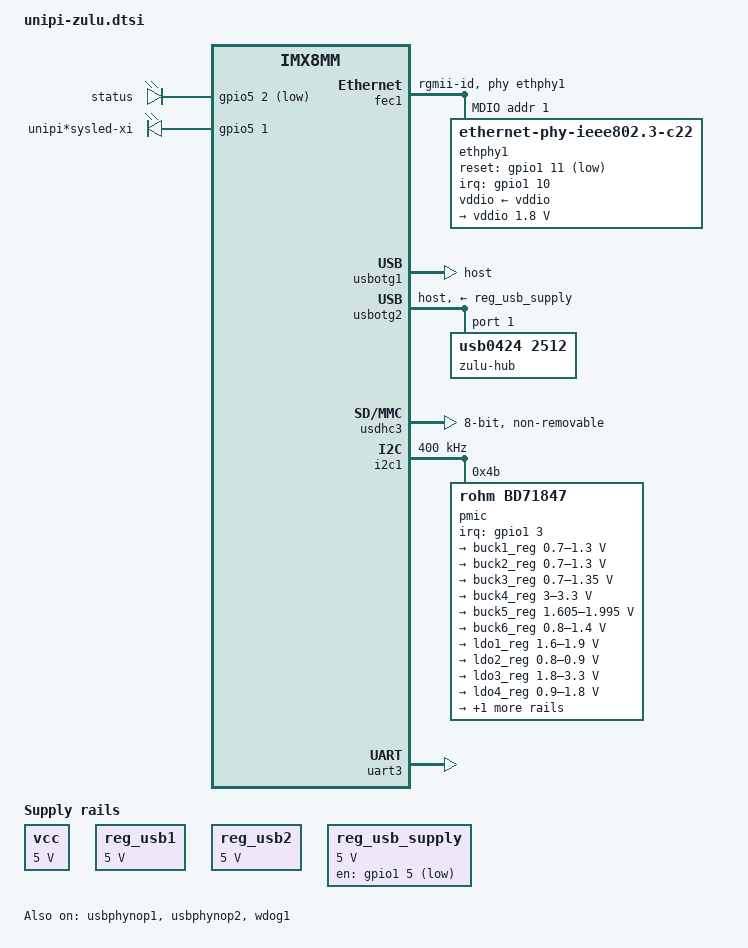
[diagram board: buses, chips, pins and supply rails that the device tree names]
// SPDX-License-Identifier: (GPL-2.0+ OR MIT)
/*
 * Copyright 2020 Faster CZ
 * Copyright 2019 NXP
 */

/dts-v1/;

#include <dt-bindings/usb/pd.h>
#include "imx8mm.dtsi"

/ {
    /* compatibility fsl,imx8mm is REQUIRED!! */
	compatible = "unipi,zulu", "fsl,imx8mm";

	resmem: reserved-memory {
		#address-cells = <2>;
		#size-cells = <2>;
		ranges;

		rpmsg_reserved: rpmsg@b8000000 {
			no-map;
			reg = <0 0xb8000000 0 0x400000>;
		};

		/* Use the kernel configuration settings instead */
		/delete-node/ linux,cma;
	};

	leds {
		compatible = "gpio-leds";
		pinctrl-names = "default";
		pinctrl-0 = <&pinctrl_gpio_led>;

		statusled {
			label = "status";
			gpios = <&gpio5 2 GPIO_ACTIVE_LOW>;
			default-state = "off";
		};
		ethgreen {
			label = "unipi*sysled-xi";
			gpios = <&gpio5 1 GPIO_ACTIVE_HIGH>;
			default-state = "off";
			linux,default-trigger = "30be0000.ethernet-1:01:link";
		};
	};

	vcc: regulator-5v-main {
		compatible = "regulator-fixed";
		regulator-name = "vcc";
		regulator-min-microvolt = <5000000>;
		regulator-max-microvolt = <5000000>;
		regulator-always-on;
	};

	reg_usb1: regulator-usb1 {
		compatible = "regulator-fixed";
		regulator-name = "U2_5V";
		regulator-min-microvolt = <5000000>;
		regulator-max-microvolt = <5000000>;
		regulator-always-on;
		status = "okay";
	};

	reg_usb2: regulator-usb2 {
		compatible = "regulator-fixed";
		regulator-name = "U1_5V";
		regulator-min-microvolt = <5000000>;
		regulator-max-microvolt = <5000000>;
		regulator-always-on;
		status = "okay";
	};

	reg_usb_supply: regulator-extusb2 {
		compatible = "regulator-fixed";
		regulator-name = "USB_5V";
		regulator-min-microvolt = <5000000>;
		regulator-max-microvolt = <5000000>;

		pinctrl-names = "default";
		pinctrl-0 = <&pinctrl_reg_usb_supply>;
		gpio = <&gpio1 5 GPIO_ACTIVE_LOW>;
		off-on-delay-us = <20000>;
		enable-active-low;
		status = "okay";
	};
};

&A53_0 {
	cpu-supply = <&buck2_reg>;
};
&A53_1 {
	cpu-supply = <&buck2_reg>;
};
&A53_2 {
	cpu-supply = <&buck2_reg>;
};
&A53_3 {
	cpu-supply = <&buck2_reg>;
};

&fec1 {
	pinctrl-names = "default";
	pinctrl-0 = <&pinctrl_fec1>;
	phy-mode = "rgmii-id";
	phy-handle = <&ethphy1>;
	fsl,magic-packet;
	status = "okay";

	mdio {
		#address-cells = <1>;
		#size-cells = <0>;

		ethphy1: ethernet-phy@1 {
			compatible = "ethernet-phy-ieee802.3-c22";
			reg = <1>;
			reset-gpios = <&gpio1 11 GPIO_ACTIVE_LOW>;
			reset-assert-us = <10000>;
			qca,disable-smarteee;
			interrupt-parent = <&gpio1>;
			interrupts = <10 IRQ_TYPE_LEVEL_LOW>;
			vddio-supply = <&vddio>;

			vddio: vddio-regulator {
				regulator-min-microvolt = <1800000>;
				regulator-max-microvolt = <1800000>;
			};
		};
	};
};

&usbotg1 {
	disable-over-current;
	dr_mode = "host";
	hnp-disable;
	srp-disable;
	adp-disable;
	status = "okay";
};

&usbotg2 {
	disable-over-current;
	dr_mode = "host";
	hnp-disable;
	srp-disable;
	adp-disable;
	status = "okay";
	vbus-supply = <&reg_usb_supply>;
	#address-cells = <1>;
	#size-cells = <0>;

	zulu-hub@1 {
		reg = <1>;
		compatible = "usb0424,2512";
	};

};

&usbphynop1 {
	vbus-supply = <&reg_usb1>;
	status = "okay";
};

&usbphynop2 {
	vbus-supply = <&reg_usb2>;
	status = "okay";
};


&usdhc3 {
    /* internal MMC */
	pinctrl-names = "default", "state_100mhz", "state_200mhz";
	pinctrl-0 = <&pinctrl_usdhc3>;
	pinctrl-1 = <&pinctrl_usdhc3_100mhz>;
	pinctrl-2 = <&pinctrl_usdhc3_200mhz>;
	bus-width = <8>;
	voltage-ranges = <1800 1800>;
	non-removable;
	status = "okay";
};

&wdog1 {
	pinctrl-names = "default";
	pinctrl-0 = <&pinctrl_wdog>;
	fsl,ext-reset-output;
	status = "okay";
};

&i2c1 {
	clock-frequency = <400000>;
	pinctrl-names = "default";
	pinctrl-0 = <&pinctrl_i2c1>;
	status = "okay";

	pmic@4b {
		compatible = "rohm,bd71847";
		reg = <0x4b>;
		pinctrl-0 = <&pinctrl_pmic>;
		interrupt-parent = <&gpio1>;
		interrupts = <3 GPIO_ACTIVE_LOW>;
		rohm,reset-snvs-powered;

		regulators {
			buck1_reg: BUCK1 {
				regulator-name = "BUCK1";
				regulator-min-microvolt = <700000>;
				regulator-max-microvolt = <1300000>;
				regulator-boot-on;
				regulator-always-on;
				regulator-ramp-delay = <1250>;
			};

			buck2_reg: BUCK2 {
				regulator-name = "BUCK2";
				regulator-min-microvolt = <700000>;
				regulator-max-microvolt = <1300000>;
				regulator-boot-on;
				regulator-always-on;
				regulator-ramp-delay = <1250>;
				rohm,dvs-run-voltage = <1000000>;
				rohm,dvs-idle-voltage = <900000>;
			};

			buck3_reg: BUCK3 {
				// BUCK5 in datasheet
				regulator-name = "BUCK3";
				regulator-min-microvolt = <700000>;
				regulator-max-microvolt = <1350000>;
				regulator-boot-on;
				regulator-always-on;
			};

			buck4_reg: BUCK4 {
				// BUCK6 in datasheet
				regulator-name = "BUCK4";
				regulator-min-microvolt = <3000000>;
				regulator-max-microvolt = <3300000>;
				regulator-boot-on;
				regulator-always-on;
			};

			buck5_reg: BUCK5 {
				// BUCK7 in datasheet
				regulator-name = "BUCK5";
				regulator-min-microvolt = <1605000>;
				regulator-max-microvolt = <1995000>;
				regulator-boot-on;
				regulator-always-on;
			};

			buck6_reg: BUCK6 {
				// BUCK8 in datasheet
				regulator-name = "BUCK6";
				regulator-min-microvolt = <800000>;
				regulator-max-microvolt = <1400000>;
				regulator-boot-on;
				regulator-always-on;
			};

			ldo1_reg: LDO1 {
				regulator-name = "LDO1";
				regulator-min-microvolt = <1600000>;
				regulator-max-microvolt = <1900000>;
				regulator-boot-on;
				regulator-always-on;
			};

			ldo2_reg: LDO2 {
				regulator-name = "LDO2";
				regulator-min-microvolt = <800000>;
				regulator-max-microvolt = <900000>;
				regulator-boot-on;
				regulator-always-on;
			};

			ldo3_reg: LDO3 {
				regulator-name = "LDO3";
				regulator-min-microvolt = <1800000>;
				regulator-max-microvolt = <3300000>;
				regulator-boot-on;
				regulator-always-on;
			};

			ldo4_reg: LDO4 {
				regulator-name = "LDO4";
				regulator-min-microvolt = <900000>;
				regulator-max-microvolt = <1800000>;
				regulator-boot-on;
				regulator-always-on;
			};

			ldo6_reg: LDO6 {
				regulator-name = "LDO6";
				regulator-min-microvolt = <900000>;
				regulator-max-microvolt = <1800000>;
				regulator-boot-on;
				regulator-always-on;
			};
		};
	};
};

&i2c3 {
	clock-frequency = <100000>;
	pinctrl-names = "default";
	pinctrl-0 = <&pinctrl_i2c3>;
	status = "disabled";
};

&uart1 {
	pinctrl-names = "default";
	pinctrl-0 = <&pinctrl_uart1>;
	assigned-clocks = <&clk IMX8MM_CLK_UART1>;
	assigned-clock-parents = <&clk IMX8MM_SYS_PLL1_80M>;
	status = "disabled";
};

&uart2 {
	pinctrl-names = "default";
	pinctrl-0 = <&pinctrl_uart2>;
	assigned-clocks = <&clk IMX8MM_CLK_UART2>;
	assigned-clock-parents = <&clk IMX8MM_SYS_PLL1_80M>;
	status = "disabled";
};

&uart3 { /* console */
	pinctrl-names = "default";
	pinctrl-0 = <&pinctrl_uart3>;
	assigned-clocks = <&clk IMX8MM_CLK_UART3>;
	assigned-clock-parents = <&clk IMX8MM_SYS_PLL1_80M>;
	status = "okay";
};

&uart4 {
	pinctrl-names = "default";
	pinctrl-0 = <&pinctrl_uart4>;
	assigned-clocks = <&clk IMX8MM_CLK_UART4>;
	assigned-clock-parents = <&clk IMX8MM_SYS_PLL1_80M>;
	status = "disabled";
};

&iomuxc {
	pinctrl-names = "default";

	pinctrl_gpio_led: gpioledgrp {
		fsl,pins = <
			MX8MM_IOMUXC_SAI3_MCLK_GPIO5_IO2	0x19
			MX8MM_IOMUXC_SAI3_TXD_GPIO5_IO1		0x19
		>;
	};

	pinctrl_fec1: fec1grp {
		fsl,pins = <
			MX8MM_IOMUXC_ENET_MDC_ENET1_MDC				0x03
			MX8MM_IOMUXC_ENET_MDIO_ENET1_MDIO			0x03
			MX8MM_IOMUXC_ENET_TD3_ENET1_RGMII_TD3		0x1f
			MX8MM_IOMUXC_ENET_TD2_ENET1_RGMII_TD2		0x1f
			MX8MM_IOMUXC_ENET_TD1_ENET1_RGMII_TD1		0x1f
			MX8MM_IOMUXC_ENET_TD0_ENET1_RGMII_TD0		0x1f
			MX8MM_IOMUXC_ENET_RD3_ENET1_RGMII_RD3		0x91
			MX8MM_IOMUXC_ENET_RD2_ENET1_RGMII_RD2		0x91
			MX8MM_IOMUXC_ENET_RD1_ENET1_RGMII_RD1		0x91
			MX8MM_IOMUXC_ENET_RD0_ENET1_RGMII_RD0		0x91
			MX8MM_IOMUXC_ENET_TXC_ENET1_RGMII_TXC		0x1f
			MX8MM_IOMUXC_ENET_RXC_ENET1_RGMII_RXC		0x91
			MX8MM_IOMUXC_ENET_RX_CTL_ENET1_RGMII_RX_CTL	0x91
			MX8MM_IOMUXC_ENET_TX_CTL_ENET1_RGMII_TX_CTL	0x1f
			MX8MM_IOMUXC_GPIO1_IO11_GPIO1_IO11			0x19
			MX8MM_IOMUXC_GPIO1_IO10_GPIO1_IO10			0x19  // interrupt
		>;
	};

	pinctrl_i2c1: i2c1grp {
		fsl,pins = <
			MX8MM_IOMUXC_I2C1_SCL_I2C1_SCL			0x400000c3
			MX8MM_IOMUXC_I2C1_SDA_I2C1_SDA			0x400000c3
		>;
	};

	pinctrl_i2c3: i2c3grp {
		fsl,pins = <
			MX8MM_IOMUXC_I2C3_SCL_I2C3_SCL			0x400000c3
			MX8MM_IOMUXC_I2C3_SDA_I2C3_SDA			0x400000c3
		>;
	};

	pinctrl_pmic: pmicirq {
		fsl,pins = <
			MX8MM_IOMUXC_GPIO1_IO03_GPIO1_IO3		0x41
		>;
	};

	pinctrl_uart1: uart1grp {
		fsl,pins = <
			MX8MM_IOMUXC_SAI2_RXC_UART1_DCE_RX		0x040
			MX8MM_IOMUXC_SAI2_RXFS_UART1_DCE_TX		0x040
		>;
	};

	pinctrl_uart1_ctrl: uart1ctrlgrp {
		fsl,pins = <
			MX8MM_IOMUXC_SAI2_TXFS_GPIO4_IO24		0x040
		>;
	};

	pinctrl_uart2: uart2grp {
		fsl,pins = <
			MX8MM_IOMUXC_SAI3_TXFS_UART2_DCE_RX		0x040
			MX8MM_IOMUXC_SAI3_TXC_UART2_DCE_TX		0x040
		>;
	};

	pinctrl_uart2_ctrl: uart2ctrlgrp {
		fsl,pins = <
			MX8MM_IOMUXC_SAI3_RXC_GPIO4_IO29		0x040
		>;
	};

	pinctrl_uart3: uart3grp {
		fsl,pins = <
			MX8MM_IOMUXC_UART3_RXD_UART3_DCE_RX		0x040
			MX8MM_IOMUXC_UART3_TXD_UART3_DCE_TX		0x040
		>;
	};

	pinctrl_uart3_ctrl: uart3ctrlgrp {
		fsl,pins = <
			MX8MM_IOMUXC_SAI2_MCLK_GPIO4_IO27		0x040
		>;
	};

	pinctrl_uart4: uart4grp {
		fsl,pins = <
			MX8MM_IOMUXC_UART4_TXD_UART4_DCE_TX		0x040
			MX8MM_IOMUXC_UART4_RXD_UART4_DCE_RX		0x040
		>;
	};

	pinctrl_usdhc3: usdhc3grp {
		fsl,pins = <
			MX8MM_IOMUXC_NAND_WE_B_USDHC3_CLK			0x190
			MX8MM_IOMUXC_NAND_WP_B_USDHC3_CMD			0x1d0
			MX8MM_IOMUXC_NAND_DATA04_USDHC3_DATA0		0x1d0
			MX8MM_IOMUXC_NAND_DATA05_USDHC3_DATA1		0x1d0
			MX8MM_IOMUXC_NAND_DATA06_USDHC3_DATA2		0x1d0
			MX8MM_IOMUXC_NAND_DATA07_USDHC3_DATA3		0x1d0
			MX8MM_IOMUXC_NAND_RE_B_USDHC3_DATA4			0x1d0
			MX8MM_IOMUXC_NAND_CE2_B_USDHC3_DATA5		0x1d0
			MX8MM_IOMUXC_NAND_CE3_B_USDHC3_DATA6		0x1d0
			MX8MM_IOMUXC_NAND_CLE_USDHC3_DATA7			0x1d0
			MX8MM_IOMUXC_NAND_CE1_B_USDHC3_STROBE 		0x190
		>;
	};

	pinctrl_usdhc3_100mhz: usdhc3grp100mhz {
		fsl,pins = <
			MX8MM_IOMUXC_NAND_WE_B_USDHC3_CLK			0x194
			MX8MM_IOMUXC_NAND_WP_B_USDHC3_CMD			0x1d4
			MX8MM_IOMUXC_NAND_DATA04_USDHC3_DATA0		0x1d4
			MX8MM_IOMUXC_NAND_DATA05_USDHC3_DATA1		0x1d4
			MX8MM_IOMUXC_NAND_DATA06_USDHC3_DATA2		0x1d4
			MX8MM_IOMUXC_NAND_DATA07_USDHC3_DATA3		0x1d4
			MX8MM_IOMUXC_NAND_RE_B_USDHC3_DATA4			0x1d4
			MX8MM_IOMUXC_NAND_CE2_B_USDHC3_DATA5		0x1d4
			MX8MM_IOMUXC_NAND_CE3_B_USDHC3_DATA6		0x1d4
			MX8MM_IOMUXC_NAND_CLE_USDHC3_DATA7			0x1d4
			MX8MM_IOMUXC_NAND_CE1_B_USDHC3_STROBE 		0x194
		>;
	};

	pinctrl_usdhc3_200mhz: usdhc3grp200mhz {
		fsl,pins = <
			MX8MM_IOMUXC_NAND_WE_B_USDHC3_CLK			0x196
			MX8MM_IOMUXC_NAND_WP_B_USDHC3_CMD			0x1d6
			MX8MM_IOMUXC_NAND_DATA04_USDHC3_DATA0		0x1d6
			MX8MM_IOMUXC_NAND_DATA05_USDHC3_DATA1		0x1d6
			MX8MM_IOMUXC_NAND_DATA06_USDHC3_DATA2		0x1d6
			MX8MM_IOMUXC_NAND_DATA07_USDHC3_DATA3		0x1d6
			MX8MM_IOMUXC_NAND_RE_B_USDHC3_DATA4			0x1d6
			MX8MM_IOMUXC_NAND_CE2_B_USDHC3_DATA5		0x1d6
			MX8MM_IOMUXC_NAND_CE3_B_USDHC3_DATA6		0x1d6
			MX8MM_IOMUXC_NAND_CLE_USDHC3_DATA7			0x1d6
			MX8MM_IOMUXC_NAND_CE1_B_USDHC3_STROBE 		0x196
		>;
	};

	pinctrl_wdog: wdoggrp {
		fsl,pins = <
			MX8MM_IOMUXC_GPIO1_IO02_WDOG1_WDOG_B		0xc6
		>;
	};

	pinctrl_reg_usb_supply: usbsupply2 {
		fsl,pins = <
			MX8MM_IOMUXC_GPIO1_IO05_GPIO1_IO5			0x06
		>;
	};

	pinctrl_ecspi1: ecspi1grp {
		fsl,pins = <
			MX8MM_IOMUXC_ECSPI1_SS0_GPIO5_IO9           0x06
			MX8MM_IOMUXC_ECSPI1_SCLK_ECSPI1_SCLK		0x82
			MX8MM_IOMUXC_ECSPI1_MOSI_ECSPI1_MOSI		0x82
			MX8MM_IOMUXC_ECSPI1_MISO_ECSPI1_MISO		0x82
		>;
	};

	pinctrl_ecspi2: ecspi2grp {
		fsl,pins = <
			MX8MM_IOMUXC_ECSPI2_SCLK_ECSPI2_SCLK		0x84
			MX8MM_IOMUXC_ECSPI2_MOSI_ECSPI2_MOSI		0x84
			MX8MM_IOMUXC_ECSPI2_MISO_ECSPI2_MISO		0x84
		>;
	};

	pinctrl_ecspi3: ecspi3grp {
		fsl,pins = <
			MX8MM_IOMUXC_UART1_RXD_ECSPI3_SCLK			0x84
			MX8MM_IOMUXC_UART1_TXD_ECSPI3_MOSI			0x84
			MX8MM_IOMUXC_UART2_RXD_ECSPI3_MISO			0x84
		>;
	};
};

&ddrc {
	operating-points-v2 = <&ddrc_opp_table>;

	ddrc_opp_table: opp-table {
		compatible = "operating-points-v2";

		opp-25000000 {
			opp-hz = /bits/ 64 <25000000>;
		};

		opp-100000000 {
			opp-hz = /bits/ 64 <100000000>;
		};

		opp-750000000 {
			opp-hz = /bits/ 64 <750000000>;
		};
	};
};

/* patch to deactivate power domain gpumix, maybe can be disposed after reworking u-boot */
&pgc_gpu {
	/delete-property/ power-domains;
};
